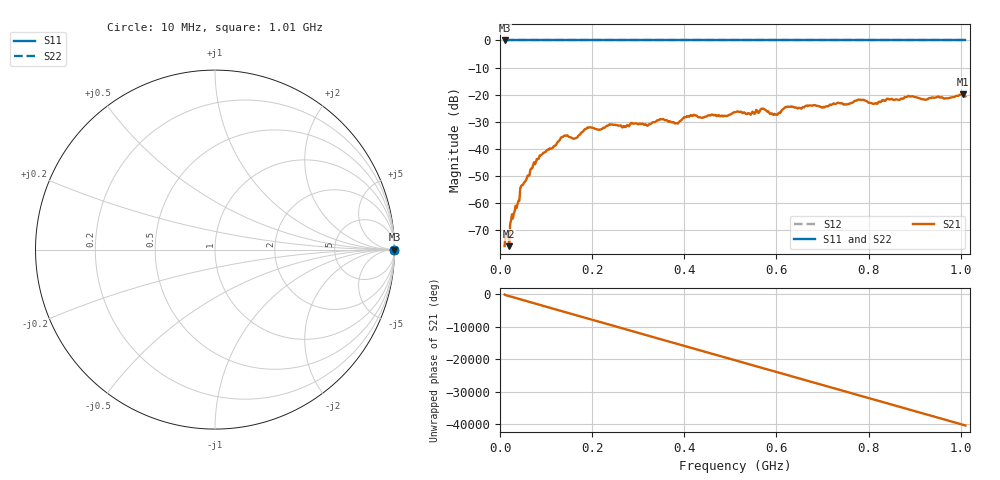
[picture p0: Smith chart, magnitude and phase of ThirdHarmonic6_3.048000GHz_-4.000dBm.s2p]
! 8/17/2025 8:50:42 AM
! C:\ANRITSUVNA\TEMP\TEMP.S2P
! CHANNEL.1
! TR.MEASUREMENT
! RAW.DATA
! RF.CORRECTION.OFF
! AVERAGING.OFF
! IF.BANDWIDTH: 5KHZ
! SWEEPTYPE:  FREQ.SWEEP(Linear)
! Reference Plane Port Info
! PORT:  PORT1  PORT2
! DISTANCE:  0  m  0  m
! TIME:  0  s  0  s
! PHASE.OFFSET:  0  deg.  0  deg.
! LOSS:  0  dB  0  dB
! REF.LOSS:  0  dB  0  dB
! REF.FREQ:  0  Hz  0  Hz
! Power Info
! POWER:  -20  dBm  -20  dBm
! EFF.POWER:  -20  dBm  -20  dBm
! SOURCE.ATTEN:  0  dB  0  dB
! TEST.ATTEN:  0  dB  0  dB
# GHZ S RI R 50.0
! FREQ.GHZ  S11RE  S11IM  S21RE  S21IM  S12RE  S12IM  S22RE  S22IM
!; PortSelection: Port_12
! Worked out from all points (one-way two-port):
!   501 points, 10 MHz to 1.01 GHz, reference 50 ohm
!   highest |S21| = -19.86 dB at 1.004 GHz (marker M1); lowest = -75.9 dB at 20 MHz (marker M2)
!   lowest |S11| = 0.0 dB at 10 MHz (marker M3)
!   |S11| at or under -10 dB: nowhere
!   |S22| runs from 0.0 to 0.0 dB; largest |S21 - S12| = 1.1
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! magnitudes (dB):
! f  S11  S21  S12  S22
! 10 MHz  0.0  -75.9  0.0  0.0
! 20 MHz  0.0  -75.9  0.0  0.0
! 26 MHz  0.0  -64.2  0.0  0.0
! 38 MHz  0.0  -60.4  0.0  0.0
! 48 MHz  0.0  -53.4  0.0  0.0
! 76 MHz  0.0  -45.7  0.0  0.0
! 136 MHz  0.0  -35.6  0.0  0.0
! 162 MHz  0.0  -36.2  0.0  0.0
! 178 MHz  0.0  -33.9  0.0  0.0
! 194 MHz  0.0  -32.1  0.0  0.0
! 322 MHz  0.0  -31.2  0.0  0.0
! 344 MHz  0.0  -29.4  0.0  0.0
! 384 MHz  0.0  -30.6  0.0  0.0
! 410 MHz  0.0  -28.2  0.0  0.0
! 510 MHz  0.0  -26.5  0.0  0.0
! 570 MHz  0.0  -25.2  0.0  0.0
! 598 MHz  0.0  -27.3  0.0  0.0
! 622 MHz  0.0  -24.5  0.0  0.0
! 678 MHz  0.0  -24.1  0.0  0.0
! 844 MHz  0.0  -21.7  0.0  0.0
! 1.004 GHz  0.0  -19.9  0.0  0.0
! 1.01 GHz  0.0  -20.6  0.0  0.0
